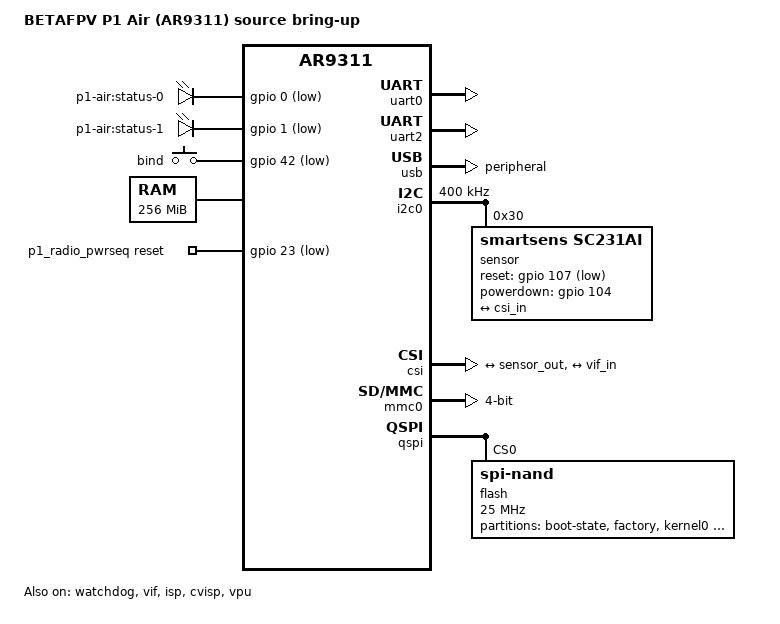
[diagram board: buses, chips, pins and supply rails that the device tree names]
// SPDX-License-Identifier: GPL-2.0-or-later
/dts-v1/;
#include "ar9311.dtsi"
#include <dt-bindings/input/input.h>

/ {
	model = "BETAFPV P1 Air (AR9311) source bring-up";
	compatible = "betafpv,p1-air", "artosyn,proxima-9311";

	/* The SPL reads this scratch word at every reset and clears it when it
	 * enters the USB downloader. Normal reboot selects direct boot (and
	 * clears the boot guard's attempt count); reboot bootloader requests USB.
	 */
	reboot-scratch@a106138 {
		compatible = "syscon", "simple-mfd";
		reg = <0 0x0a106138 0 4>;
		reboot-mode {
			compatible = "syscon-reboot-mode";
			offset = <0>;
			/* reboot-mode ignores zero; clear request bit 0, retain mode bit 1. */
			mode-normal = <2>;
			mode-bootloader = <3>;
		};
	};

	leds {
		compatible = "gpio-leds";
		led-0 {
			label = "p1-air:status-0";
			gpios = <&gpio 0 GPIO_ACTIVE_LOW>;
			default-state = "off";
		};
		led-1 {
			label = "p1-air:status-1";
			gpios = <&gpio 1 GPIO_ACTIVE_LOW>;
			default-state = "off";
		};
	};

	keys {
		compatible = "gpio-keys-polled";
		label = "p1-air-bind";
		poll-interval = <20>;
		button-bind {
			label = "bind";
			gpios = <&gpio 42 GPIO_ACTIVE_LOW>;
			linux,code = <KEY_WPS_BUTTON>;
			debounce-interval = <20>;
		};
	};

	aliases {
		serial0 = &uart0;
		serial1 = &uart2;	/* /dev/ttyS1, kestrel-air's flight controller */
	};

	chosen {
		stdout-path = "serial0:1152000n8";
		bootargs = "console=ttyS0,1152000 earlycon loglevel=7 mem=128M rdinit=/init";
	};

	/* Live P1 has 256 MiB total. Keep the stock 128 MiB Linux / 128 MiB
	 * media split until capture and encoder buffer ownership is validated.
	 */
	memory@20000000 {
		device_type = "memory";
		reg = <0 0x20000000 0 0x10000000>;
	};

	reserved-memory {
		#address-cells = <2>;
		#size-cells = <2>;
		ranges;

		/* Preserve the range reserved by the live stock device tree. */
		qspi@27400000 {
			reg = <0 0x27400000 0 0x00500000>;
			no-map;
		};

		/* Camera pools are isolated from Linux and the RAM loader's parked
		 * secondary CPU at 0x2ff00000. Each DMA master owns its pool.
		 */
		cvisp_pool: dma-pool@28000000 {
			compatible = "shared-dma-pool";
			reg = <0 0x28000000 0 0x02800000>;
			no-map;
		};
		isp_pool: dma-pool@2a800000 {
			compatible = "shared-dma-pool";
			reg = <0 0x2a800000 0 0x00800000>;
			no-map;
		};
		vif_pool: dma-pool@2b000000 {
			compatible = "shared-dma-pool";
			reg = <0 0x2b000000 0 0x00800000>;
			no-map;
		};
		codec_pool: dma-pool@2b800000 {
			compatible = "shared-dma-pool";
			reg = <0 0x2b800000 0 0x04700000>;
			no-map;
		};
		loader@2ff00000 {
			reg = <0 0x2ff00000 0 0x00100000>;
			no-map;
		};
	};
};

&cpu0 {
	enable-method = "ar-spin-table";
};

&cpu1 {
	enable-method = "ar-spin-table";
	cpu-release-addr = <0 0x00100000>;
};

&uart0 {
	status = "okay";
};

/* The flight controller (MSP, 115200 8N1), where stock has it. Pins as the
 * bootloader muxes them, like the console's. */
&uart2 {
	status = "okay";
};

&usb {
	status = "okay";
	dr_mode = "peripheral";
};

&watchdog {
	status = "okay";
};


&camera_clocks { status = "okay"; };
/* The supply (the FC connector's 5 V) on SAR ADC channel 0, the one stock's
 * adc.sh calibrates, through stock's x10.09 divider. Stock's ar_lowdelay
 * (project c401) reads in_voltage1_input / 0.0991, but channel 1 floats near
 * 0 V on this board; channel 0 follows the input (bench 2026-11-04: 4.63 V
 * on USB alone, 4.77 V with the FC's 5 V as well). */
&soc_temp {
	status = "okay";
	artosyn,vin-channel = <0>;
	artosyn,vin-ratio-permille = <10090>;
};
&gpio { status = "okay"; };

&i2c0 {
	status = "okay";
	clock-frequency = <400000>;
	i2c-sda-hold-time-ns = <300>;
	i2c-sda-falling-time-ns = <300>;
	i2c-scl-falling-time-ns = <300>;

	sensor: camera@30 {
		compatible = "smartsens,sc231ai";
		reg = <0x30>;
		clocks = <&camera_clocks 35>;
		clock-names = "xclk";
		assigned-clocks = <&camera_clocks 35>;
		assigned-clock-rates = <24000000>;
		reset-gpios = <&gpio 107 GPIO_ACTIVE_LOW>;
		powerdown-gpios = <&gpio 104 GPIO_ACTIVE_HIGH>;
		port {
			sensor_out: endpoint {
				remote-endpoint = <&csi_in>;
				clock-lanes = <0>;
				data-lanes = <1 2>;
				link-frequencies = /bits/ 64 <378000000>;
			};
		};
	};
};

&csi {
	status = "okay";
	/* Measured SC231AI 1920x1080@60 IPI HSA/HBP/HSD clocks. */
	artosyn,ipi-timing = <16 16 33>;
	ports {
		#address-cells = <1>;
		#size-cells = <0>;
		port@0 {
			reg = <0>;
			csi_in: endpoint {
				remote-endpoint = <&sensor_out>;
				data-lanes = <1 2>;
			};
		};
		port@1 {
			reg = <1>;
			csi_out: endpoint { remote-endpoint = <&vif_in>; };
		};
	};
};

&vif {
	status = "okay";
	memory-region = <&vif_pool>;
	port { vif_in: endpoint { remote-endpoint = <&csi_out>; }; };
};

&isp {
	status = "okay";
	memory-region = <&isp_pool>;
	artosyn,tuning-firmware = "artosyn/sc231-tuning-preview-fpv.bin";
};

&cvisp {
	status = "okay";
	memory-region = <&cvisp_pool>;
	artosyn,tuning-firmware = "artosyn/sc231-tuning-preview-fpv.bin";
};

&vpu {
	status = "okay";
	memory-region = <&codec_pool>;
	firmware-name = "artosyn/p1-chagall-lowmem.bin";
	artosyn,enable-encoder;
};

/* Stock P1 start_ar813x.sh resets the radio on GPIO23. Its SDIO
 * interface uses MMC0 without a GPIO-selectable voltage regulator.
 */
/ {
	p1_radio_pwrseq: radio-pwrseq {
		compatible = "artosyn,ar8030-pwrseq";
		reset-gpios = <&gpio 23 GPIO_ACTIVE_LOW>;
	};
};
&mmc_clocks {
	status = "okay";
	artosyn,clock-config = <0x87 2>, <0x80 0>;
};
&mmc0 {
	status = "okay";
	clock-frequency = <100000000>;
	max-frequency = <50000000>;
	bus-width = <4>;
	cap-sd-highspeed;
	cap-sdio-irq;
	broken-cd;
	no-mmc;
	no-sd;
	no-1-8-v;
	mmc-pwrseq = <&p1_radio_pwrseq>;
};

/* P1 1.0.44 layout, verified against stock MTD and backup.
 * Factory stays read-only; usr_data holds a separate fpvOS settings directory.
 * Bank 0 holds fpvOS kernel, DTB and rootfs. GPT selects the complete bank
 * only after readback verification. Stock bank 1 contents are never written.
 */
&qspi_clock { status = "okay"; };

&qspi {
	status = "okay";
	clocks = <&qspi_clock>;
	flash@0 {
		compatible = "spi-nand";
		reg = <0>;
		spi-max-frequency = <25000000>;
		partitions {
			compatible = "fixed-partitions";
			#address-cells = <1>;
			#size-cells = <1>;
			partition@100000 {
				label = "boot-state";
				reg = <0x100000 0x80000>;
			};
			partition@200000 {
				label = "factory";
				reg = <0x200000 0x600000>;
				read-only;
			};
			partition@a40000 {
				label = "kernel0";
				reg = <0xa40000 0x600000>;
			};
			partition@1640000 {
				label = "dtb0";
				reg = <0x1640000 0x60000>;
			};
			partition@1040000 {
				label = "stock-kernel";
				reg = <0x1040000 0x600000>;
				read-only;
			};
			partition@1700000 {
				label = "userapp0";
				reg = <0x1700000 0x2d00000>;
			};
			partition@7100000 {
				label = "usr_data";
				reg = <0x7100000 0x600000>;
			};
		};
	};
};
